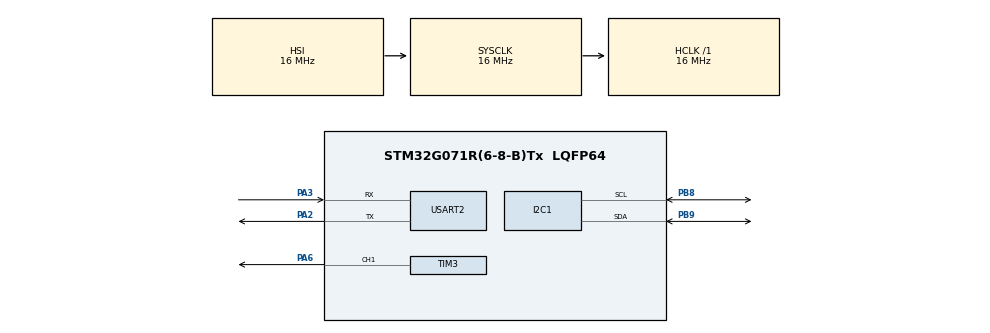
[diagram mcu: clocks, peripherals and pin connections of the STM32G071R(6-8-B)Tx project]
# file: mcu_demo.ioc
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I2C1.Timing=0x00503D58
Mcu.Family=STM32G0
Mcu.Name=STM32G071R(6-8-B)Tx
Mcu.Package=LQFP64
NVIC.USART2_IRQn=true\:0\:0\:false\:false\:true\:true\:true\:true
PA2.Mode=Asynchronous
PA2.Signal=USART2_TX
PA3.Mode=Asynchronous
PA3.Signal=USART2_RX
PA6.Signal=S_TIM3_CH1
PB8.Mode=I2C
PB8.Signal=I2C1_SCL
PB9.Mode=I2C
PB9.Signal=I2C1_SDA
ProjectManager.HeapSize=0x200
ProjectManager.StackSize=0x400
ProjectManager.TargetToolchain=STM32CubeIDE
RCC.AHBFreq_Value=16000000
RCC.CortexFreq_Value=16000000
RCC.EXTERNAL_CLOCK_VALUE=48000
RCC.HCLKFreq_Value=16000000
RCC.HSE_VALUE=8000000
RCC.HSI_VALUE=16000000
RCC.LSE_VALUE=32768
RCC.SYSCLKFreq_VALUE=16000000
RCC.VCOOutputFreq_Value=128000000
SH.S_TIM3_CH1.0=TIM3_CH1,PWM Generation1 CH1
TIM3.Channel-PWM\ Generation1\ CH1=TIM_CHANNEL_1
TIM3.Period=20000-1
TIM3.Prescaler=16-1
USART2.VirtualMode-Asynchronous=VM_ASYNC
board=custom

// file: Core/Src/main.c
/* USER CODE BEGIN Header */
/**
  ******************************************************************************
  * @file           : main.c
  * @brief          : Main program body
  ******************************************************************************
  * @attention
  *
  * Copyright (c) 2025 STMicroelectronics.
  * All rights reserved.
  *
  * This software is licensed under terms that can be found in the LICENSE file
  * in the root directory of this software component.
  * If no LICENSE file comes with this software, it is provided AS-IS.
  *
  ******************************************************************************
  */
/* USER CODE END Header */
#include "main.h"

/* USER CODE BEGIN Includes */
#include <stdio.h>
#include <string.h>
#include "i2c_lcd.h"
/* USER CODE END Includes */

/* USER CODE BEGIN PTD */

/* Note: although we can leave it, and SystemState will
 * count from 0, I feel far better leaving this explicit.
 * - Riley
 */

typedef enum {
	STATE_A = 0,
	STATE_B = 1,
	STATE_C = 2
}  SystemState;

typedef enum {
	LCD_COUNTER= 0,
	SERVO_COUNTER = 1,
	UART_COUNTER = 2,
	ALT_LED_COUNTER = 3,
	ADC_LED_COUNTER = 4,
	STATEC_LED_COUNTER = 5
}  counterArray;

typedef enum {
    PA2_MODE_UNKNOWN,
    PA2_MODE_UART,
    PA2_MODE_GPIO
} Pa2Mode;

/* USER CODE END PTD */

/* USER CODE BEGIN PD */

#define NUM_COUNTERS 6

// --- PINS ---
#define LED1_PIN 4 //CN9_D5
#define LED2_PIN 5 //CN9_D4
#define LED3_PIN 3 //CN9_D3
#define LED4_PIN 2 //CN8_PA2 (TX PIN)
#define BUTTON1_PIN 4 //OFFBOARD PC_4, CN9_D1, CN10_ aligned with CN9's TX/D1
#define BUTTON2_PIN	13 //ONBOARD, PC_13, CN7 aligned with gap in CN8 and CN6
#define POT_PIN 0 //PA_0

// SDA = PB_8, D14
// SCL = PB_9, D15

// --- PORTS ---
#define LED1_PORT GPIOB
#define LED2_PORT GPIOB
#define LED3_PORT GPIOB
#define LED4_PORT GPIOA
#define POT_PORT GPIOA

// --- DEFINED VALUES ---
#define BUTTON1 0
#define BUTTON2 1

#define POT_ADC_MAX 4095
#define POT_ADC_MIN 80 //Potentiometer doesn't reach zero, so this is for linear mapping.

#define ADC_AVG_WINDOW 3  // Average the last 10 values only

// --- TIM CONFIG ---
#define TIMER_SEL TIM2
#define TIMER_IRQn TIM2_IRQn

// --- COUNTER PERIODS ---
#define LCD_REFRESH_PERIOD 100 //ms
#define UART_UPDATE_PERIOD 500 //ms
#define ALT_LEDS_PERIOD 1000 //ms
#define SERVO_REFRESH_PERIOD 1 //ms, variable with testing

// --- STATE C ---
#define LED_BLINK_AMOUNT 3

//LCD
#define LCD_REFRESH_PERIOD 50 //ms

/* USER CODE END PD */

I2C_HandleTypeDef hi2c1;

TIM_HandleTypeDef htim3;

UART_HandleTypeDef huart2;

/* USER CODE BEGIN PV */
I2C_LCD_HandleTypeDef lcd1;

// --- Debugging ---
volatile uint32_t debugCounter[4] = {0}; //used to confirm if points in code are reached.

// --- State machine ---
volatile SystemState currentState = STATE_A;

// --- Counters ---
//TIM2 Handler Counters, for non blocking functionality
volatile uint32_t counterSelection[NUM_COUNTERS] = {0};  // LCD, SERVO, UART, ALT_LED, ADC_LED, STATE_C

//--- Alternating LEDs (LED1 & LED2) ---
volatile uint32_t ledBitPos[2] = {LED1_PIN,LED2_PIN};
volatile uint32_t selectedLed = 0;
volatile uint32_t ledOn = 0; //this is selecting LED_1 for ledBitPos to begin
volatile uint32_t ledOff = 1; //this is selecting LED_2 for ledBitPos to begin
volatile uint32_t blink = 0;
volatile int8_t altLedFlag = 0; //1ms check based on TIM2

// --- Button ---
volatile uint32_t buttonState[2]= {0};

//--- POTENTIOMETER GET ADC ---
volatile uint32_t adcValue = 0;
volatile int32_t latestAdcValue = 0;
volatile int32_t adcNewValueFlag = 0;
volatile uint32_t adcHistory[ADC_AVG_WINDOW] = {0};  // Stores the last 10 readings
volatile uint8_t adcHistoryIndex = 0;  // Tracks where to insert the new value

//--- Implementing ADC ---
//-- Servo
volatile int32_t pwmValue = 0;
//-- ADC LED (LED_3)
volatile uint32_t adcLedState = 0;
volatile uint32_t variableBlinkingFrequency = 0;

//--- UART ---
volatile uint32_t uartEnabled = 1;
volatile Pa2Mode pa2CurrentMode = PA2_MODE_UNKNOWN;

volatile char txData [] = "Autumn2025 MX1 SID: 14057208, ADC Reading: XXXX\r\n";
volatile char rxData [] = "";

volatile int32_t isTransmitting = 1;
volatile int32_t uartCounter = 0;
volatile int8_t uartTransmitFlag = 0;

//--- STATE C ---
volatile uint32_t stateCStarted = 0;
volatile uint32_t stateCFlashCount = 0;     // Counts OFF states (full flash = 1)

/***********************
 *  ALL UART VARIABLES
 ***********************
 */
volatile Pc4Mode pc4CurrentMode = PC4_MODE_UNKNOWN;

//transmit data variable
volatile char txData [] = "Autumn2025 MX1 SID: 14057208, ADC Reading: XXXX\r\n";
volatile char rxData [] = "";

volatile int32_t isTransmitting = 1;
volatile int32_t uartCounter = 0;
volatile int8_t uartTransmitFlag = 0;

/***********************
 *  ALL LCD VARIABLES
 ***********************
 */

volatile int8_t lcdUpdateFlag = 0;
volatile int32_t lcdCounter = 0;

/* USER CODE END PV */

void SystemClock_Config(void);
static void MX_GPIO_Init(void);
static void MX_I2C1_Init(void);
static void MX_USART2_UART_Init(void);
static void MX_TIM3_Init(void);
/* USER CODE BEGIN PFP */

// --- General Utilities ---
uint8_t ButtonWasPressed(uint8_t buttonIndex);
void HandleButtonInterrupt(uint8_t button, uint8_t isFalling, uint32_t pin);
void EXTI4_15_IRQHandler(void);
int IsTimeReached(int8_t selection, int32_t reset);
uint32_t LinearMap(uint32_t x, uint32_t inMin, uint32_t inMax,
		uint32_t outMin, uint32_t outMax);

// --- State Machine ---
void HandleStateA(void);
void HandleStateB(void);
void HandleStateC(void);

// --- ADC ---
void ADC1_COMP_IRQHandler(void);
void GetAdcValue(void);
void InitAdcHistory(void);
void ConfigureAdc(void);

// --- Outputs (LCD, UART, LEDs) ---
void OutputLCD(const char* line1, const char* line2);
void configure_LCD(void);
void UartSendAdcMessageIfEnabled(void);
void ServoMove(void);
void AltLedBlinking(void);
void AdcLedBlinking(void);
void StateCLed(void);

// --- GPIO, EXTI, Timer Config ---
void ConfigureTxForUart(void);
void ConfigureTxForGpio(void);
void ConfigureGpioOutput(GPIO_TypeDef* port, uint32_t pin);
void ConfigureButtonEXTI(void);
void ConfigureTimer(TIM_TypeDef* tim, uint32_t prescaler,
		uint32_t arr, IRQn_Type irqNum, uint8_t priority);

// --- Interrupt Handlers ---
void TIM2_IRQHandler(void);

// --- System Init ---
void InitAll(void);

/* USER CODE END PFP */

/* USER CODE BEGIN 0 */

/* ==========================================
 * 				General Utilities
 * 		 (Buttons and General Functions)
 * ========================================== */
//=============================
// Function ButtonWasPressed
// Purpose: Function used when PRESS matters, not holding down button.
//
// - Used for swapping between state A and B
//=============================
uint8_t ButtonWasPressed(uint8_t buttonIndex){
	if (buttonState[buttonIndex]) {
		buttonState[buttonIndex] = 0; //clears press flag
		return 1; //returns TRUE, recent button press HAS occurred.
	}
	return 0; // No new press
}
//FOR STATE A UART
void TransmitWithADC(void){
	char messageWithAdc [100];
	if (!uartTransmitFlag) return; //immediate exit if no transmission

	sprintf(messageWithAdc, "Autumn2025 EMS SID: 14057208, ADC Reading: %lu\r\n", adcValue);

	if(HAL_UART_Transmit(&huart2, (uint8_t*)messageWithAdc, strlen(messageWithAdc), HAL_MAX_DELAY) != HAL_OK)
		 Error_Handler();
	//Riley's note:
	// 'uint8_t*) included to remove warning. signedness differed.
	// removed warning without changing variable type.

	uartTransmitFlag = 0; //clear flag after successful transmit

}

////LCD Functionality

void OutputLCD(const char* line1, const char* line2) {
	if(!lcdUpdateFlag)return; //prevents endless refresh
    lcd_clear(&lcd1);

    lcd_gotoxy(&lcd1, 0, 0);
    lcd_puts(&lcd1, line1);

    lcd_gotoxy(&lcd1, 0, 1);
    lcd_puts(&lcd1, line2);
    lcdUpdateFlag = 0;
}

//=============================
// Function HandleButtonInterrupt
// Purpose:  Changes corresponding button state.
//
// - Importantly clears relevant flag.
//=============================
void HandleButtonInterrupt(uint8_t button, uint8_t isFalling, uint32_t pin){
    if (isFalling) {
        buttonState[button] = 1;  // Button is now pressed
        EXTI->FPR1 = (1 << pin);   // Clear falling edge flag
    } else {
        buttonState[button] = 0;  // Button is now released
        EXTI->RPR1 = (1 << pin);   // Clear rising edge flag
    }
}

//=============================
// Interrupt: EXTI4_15_IRQHandler
// Purpose:  Responds to rising and falling edge of both buttons
//=============================

void EXTI4_15_IRQHandler(void){

    if (EXTI->FPR1 & (1 << 13)) HandleButtonInterrupt(BUTTON2, 1, 13);
    if (EXTI->RPR1 & (1 << 13)) HandleButtonInterrupt(BUTTON2, 0, 13);

    if (EXTI->FPR1 & (1 << 4)) HandleButtonInterrupt(BUTTON1, 1, 4);
    if (EXTI->RPR1 & (1 << 4)) HandleButtonInterrupt(BUTTON1, 0, 4);
}

//=============================
// Function: IsTimeReached
// Purpose:  Returns 1 ("true") if a time period has elapsed.
//
// - Polls a counter incremented in TIM2_IRQHandler (1ms steps).
// - Used for scheduling periodic tasks without blocking delays.
//=============================
int IsTimeReached(int8_t selection, int32_t reset){

	// If counter has reached desired period
    if (counterSelection[selection] >= reset) {
        counterSelection[selection] = 0;
        return 1; // True
    }
    return 0; // False
}

//=============================
// Function: LinearMap
// Purpose:  Standard linear mapping function.
//
// - Converts an input value 'x' from [inMin, inMax] to
//	 	a proportional value in [outMin, outMax].
// - Clamps 'x' to the input range to avoid out-of-bound results.
// - Uses uint64_t multiplication to prevent overflow.
//=============================
uint32_t LinearMap(uint32_t x, uint32_t inMin, uint32_t inMax, uint32_t outMin, uint32_t outMax){
    if (inMax == inMin) return outMin; // prevent divide-by-zero

    if (x < inMin) x = inMin;
    if (x > inMax) x = inMax;

    //uint64_t avoids overflow during multiplication
    return ((uint64_t)(x - inMin) * (outMax - outMin)) / (inMax - inMin) + outMin;
}

/* ==========================================
 * 				 State Machine
 * 		 	 (for switch in while)
 * ========================================== */
//=============================
// Function: HandleStateA
// Purpose:  Calls State A specific functions.
//
// - Configures Tx for UART, LCD Output, Reads UART
// - Button 1 pressed -> State C
// - Button 2 pressed -> State B
//=============================
void HandleStateA(void) {

	// UART Transmitting
	ConfigureTxForUart();
	UartSendAdcMessageIfEnabled();

	// LCD STATE A
	OutputLCD("SID: 14057208", "MECHATRONICS 1");

	// UART Receiving (only in State A)
	HAL_UART_Receive_IT(&huart2, (uint8_t*)rxData, sizeof(rxData));

    if (ButtonWasPressed(BUTTON1)) {
		currentState = STATE_C;
		debugCounter[2];
		return;
	}
    if (ButtonWasPressed(BUTTON2)) {
        currentState = STATE_B;
        return;
    }
}

//=============================
// Function: HandleStateB
// Purpose:  Calls State B specific functions.
//
// - Takes ADC value for LED_3, Servo and LCD
// - Button 1 pressed -> Alternates LED 1 & LED 2 blinking
// - Button 2 pressed -> State A
//=============================
void HandleStateB(void) {

	ServoMove();

	//LCD ALL FUNCTIONALITY
	char adcText[17];
	snprintf(adcText, sizeof(adcText), "ADC:%4lu STATE B", adcValue);

	OutputLCD(adcText, "MECHATRONICS 1");

    if (buttonState[BUTTON1]) {
        selectedLed = 1; //LED2 blinks while button is held
    }
    else{
    	selectedLed = 0; //LED1 blinks otherwise
    }
    if (ButtonWasPressed(BUTTON2)) {
        currentState = STATE_A;
        return;
    }
}

//=============================
// Function: HandleStateC
// Purpose:  Calls State C specific functions.
//
// - LCD "off"
// - Runs LED blinking function (also handles TX reconfiguration)
//=============================
void HandleStateC(void) {

	OutputLCD("", ""); //LCD functionally OFF

	StateCLed();

}

//=============================
// Function: stateCLed
// Purpose:  Blink LED_4 at 1Hz for 3 cycles (6 toggles).
//
// - Reconfigures TX pin as GPIO at start
// - Blinks LED 3 times
// - Reverts to State A when complete
//=============================
void StateCLed(void){

	if (!stateCStarted) {
		stateCStarted = 1;
		stateCFlashCount = 0;
		ConfigureTxForGpio(); //UART OFF
		counterSelection[STATEC_LED_COUNTER] = 0; // Reset timing counter
		HAL_GPIO_WritePin(GPIOA, GPIO_PIN_2, GPIO_PIN_RESET); // LED OFF
	}

	// 1Hz blink timing
	if (!IsTimeReached(STATEC_LED_COUNTER, 1000/2)) return;

	// Toggle LED
	if (stateCFlashCount % 2 == 0){ // Currently ON, so turn OFF
		HAL_GPIO_WritePin(GPIOA, GPIO_PIN_2, GPIO_PIN_SET);
	} else { // Currently OFF, so turn ON
		HAL_GPIO_WritePin(GPIOA, GPIO_PIN_2, GPIO_PIN_RESET);
	}

	stateCFlashCount++;

	if (stateCFlashCount >= (LED_BLINK_AMOUNT*2)) { // 3 ON + 3 OFF = 6 toggles
		//ConfigureTxForUart(); // Restore UART
		HAL_GPIO_WritePin(GPIOA, GPIO_PIN_2, GPIO_PIN_RESET); // LED OFF
		stateCStarted = 0;
		currentState = STATE_A;
	}

}

/* ==========================================
 * 				 	  ADC
 * 		 (Handler, GetAdcValue, Config)
 * ========================================== */

//=============================
// Interrupt: ADC1 Handler
// Purpose:  Takes in new ADC value.
//
// - adjusts minimum to help with linear mapping later
//=============================
void ADC1_COMP_IRQHandler(void){

	// Takes new value (that triggers this interrupt)
	uint32_t localAdcValue = ADC1->DR;
	adcNewValueFlag = 1;

	// Adjusts value if near lowest value
	if (localAdcValue < POT_ADC_MIN){
		localAdcValue = POT_ADC_MIN;
	}

	// Latest ADC Value is then passed on by GetAdcValue()
	latestAdcValue = localAdcValue;

	ADC1->ISR |= (1 << 2); //clear the interrupt flag

	ADC1->CR |= 1 << 2; //start new ADC conversion

}

//=============================
// Function: GetAdcValue
// Purpose:  Averages recent values, then maps as POT only goes to ~80
//
// - adjusts minimum to help with linear mapping later
//=============================
void GetAdcValue(void){

	// "flag" means it will only take in a value after each ADC interrupt
	if (!adcNewValueFlag) return;
	adcNewValueFlag = 1;

	// Store latest value into the buffer at the current index
	adcHistory[adcHistoryIndex] = latestAdcValue;

	// Move to next index, wrapping around at the end (circular buffer)
	adcHistoryIndex = (adcHistoryIndex + 1) % ADC_AVG_WINDOW;

	// Calculate average of the stored values
	uint32_t sum = 0;
	for(uint8_t i = 0; i < ADC_AVG_WINDOW; i++) {
		sum += adcHistory[i];
	}
	uint32_t averagedValue = sum / ADC_AVG_WINDOW;

	// Map averaged result to desired range
	adcValue = LinearMap(averagedValue,POT_ADC_MIN,POT_ADC_MAX,0,POT_ADC_MAX);

}

//=============================
// Function: InitAdcHistory
// Purpose:  Sets average, not entirely needed at current small average window.
//=============================
void InitAdcHistory(void) {
    // Fill the history buffer with the first valid ADC value
    for (uint8_t i = 0; i < ADC_AVG_WINDOW; i++) {
        adcHistory[i] = latestAdcValue;
    }
}

void ConfigureAdc(void){

	// 1. Enable PORT

	RCC->IOPENR |= (1 << 0); //GPIOA

	POT_PORT->MODER |= (3 << (POT_PIN * 2)); // Set MODER to 11
	POT_PORT->PUPDR &= ~(3 << (POT_PIN *2)); // No pull-up/down

	// 2. Enable ADC Clock

	RCC->APBENR2 |= (1 << 20); //ADC Clock Enable //RCC_APBENR2_ADCEN ?

	// 3. Configure ADC Parameters

	ADC1->CFGR1 &= ~(3 << 3); // 12-bit resolution 0b00
	ADC1->CFGR2 &= ~(3UL << 30); // Asynchronous clock mode 0b00
	//3UL to avoid compiler warnings near signed boundary
	ADC->CCR &= ~(0xF << 18); // 0b0000, Prescaler = 1

	ADC1->CHSELR |= (1 << POT_PIN); // Selecting pin

	ADC1->SMPR &= ~(7 << 4); // Clears bits 6:4 (SMP2[2:0])
	ADC1->SMPR |= (3 << 4); // Set bits 6:4 to 0b011 = 12.5 cycles 0b011
	ADC1->SMPR |= (1 << 8); // Set channel 0 to use SMP2 time

	// 4. Enable ADC Interrupt & Start

	ADC1->IER |= (1 << 2); // End-of-conversation interrupt
	ADC1->CR |= (1 << 0); // Enable ADC

	while (!(ADC1->ISR & (1 << 0))){}; // Wait for ready

	NVIC_SetPriority(ADC1_COMP_IRQn, 2);
	NVIC_EnableIRQ(ADC1_COMP_IRQn);

	ADC1->CR |= 1 << 2; // Start first conversion
}

/* ==========================================
 * 					Outputs
 * 				(LCD, UART, LEDs)
 * ========================================== */

//=============================
// Function: OutputLCD
// Purpose:  Update the LCD display only when text changes.
//
// - Compares new text lines with the previous ones to prevent unnecessary updates.
// - Updates the LCD only when either line has changed.
// - Prevents flickering by avoiding redundant clears and writes.
//=============================
void OutputLCD(const char* line1, const char* line2) {

	static char prevLine1[17] = "";
	static char prevLine2[17] = "";

	//CounterFlag(LCD_COUNTER, LCD_REFRESH_PERIOD);

	//if(!counterFlag[LCD_COUNTER]) return; //prevents endless refresh

	//counterFlag[LCD_COUNTER] = 0;

	if(!IsTimeReached(LCD_COUNTER, LCD_REFRESH_PERIOD)) return;

	// Only update if lines changed
	// This prevents needless clearing, which shows as flickering.

	if (strcmp(line1, prevLine1) == 0 && strcmp(line2, prevLine2) == 0){
		return; // no new data, skip the update
	}

    lcd_clear(&lcd1);

    lcd_gotoxy(&lcd1, 0, 0);
    lcd_puts(&lcd1, line1);

    lcd_gotoxy(&lcd1, 0, 1);
    lcd_puts(&lcd1, line2);

    // Save new lines as previous for next comparison
	strncpy(prevLine1, line1, sizeof(prevLine1));
	strncpy(prevLine2, line2, sizeof(prevLine2));
}

//=============================
// Function: configure_LCD
// Purpose:  Correctly configures LCD
//=============================
void configure_LCD(void){
	MX_I2C1_Init(); // CubeMX-generated

	lcd1.hi2c = &hi2c1;
	lcd1.address = 0x27 << 1;  // (confirm your backpack's address, usually 0x27 or 0x3F)
	lcd_init(&lcd1);
	lcd_clear(&lcd1);
}

//=============================
// Function: UartSendAdcMessageIfEnabled
// Purpose:  Transmit message with ADC Reading at 2Hz.
//
// - Only transmits when enabled.
// - doesn't consider state, written only in STATE_A functionality.
//=============================
void UartSendAdcMessageIfEnabled(void){

	// Exit if update period is not reached
	if(!IsTimeReached(UART_COUNTER,UART_UPDATE_PERIOD)) return;

	// Exit immediately if transmission is disabled
	if(!isTransmitting) return;

	char messageWithAdc [100]; // Buffer for the message

	// Create the message with current ADC value
	sprintf(messageWithAdc, "Autumn2025 EMS SID: 14057208, ADC Reading: %lu\r\n", adcValue);

	// Transmit the message over UART2
	if(HAL_UART_Transmit(&huart2, (uint8_t*)messageWithAdc, strlen(messageWithAdc), HAL_MAX_DELAY) != HAL_OK)
		 Error_Handler();
}

//=============================
// Function: ServoMove
// Purpose:  Move the servo to a position based on ADC value.
//
// - Maps ADC value to pulse width and sets PWM duty cycle.
//=============================
void ServoMove(void){

	// Exit if update period is not reached
	if(!IsTimeReached(SERVO_COUNTER,SERVO_REFRESH_PERIOD)) return;

	// SERVO PULSE WIDTH LIMITS (tested values)
	const int32_t pulseMin = 610; // 0 degrees, ~0.61ms
	const int32_t pulseMax = 2600; // 180 degrees, ~2.6ms

	// Map ADC value to servo pulse width
	pwmValue = LinearMap(adcValue, 0, POT_ADC_MAX, pulseMin, pulseMax);

	// Set new PWM
	__HAL_TIM_SET_COMPARE(&htim3, TIM_CHANNEL_1, pwmValue);
}

//=============================
// Function: AltLedBlinking
// Purpose:  Alternates which led is blinking based on button press value.
//
// - To be placed outside of state switches, as leds turn off within.
//=============================
void AltLedBlinking(void){

	const int32_t blinkPeriodMs = 1000; // 1 second total period

	if (!altLedFlag) return; //this varies as it's only a 1ms check
	altLedFlag = 0;

	// If not in STATE_B, turn both LEDs off and exit
	if (currentState != STATE_B){
		GPIOB->BSRR = (1 << (LED1_PIN + 16));
		GPIOB->BSRR = (1 << (LED2_PIN + 16));
		return;
	}

	// Takes value from Button Press to determine which LED

	ledOn = selectedLed;
	ledOff = (selectedLed == 0) ? 1 : 0;  // removes potential error

	// Turn OFF the "off" LED (always)
	GPIOB->BSRR = (1 << (ledBitPos[ledOff] + 16));

	// Decide whether to turn ON or OFF the "on" LED based on counter position
	if (counterSelection[ALT_LED_COUNTER] > blinkPeriodMs / 2 ){ //LED ON
		GPIOB->BSRR = (1 << ledBitPos[ledOn]);
		blink = 1;
	} else {
		GPIOB->BSRR = (1 << (ledBitPos[ledOn] + 16)); //LED OFF
		blink = 0;
	}

	// Keep counter rolling over
	counterSelection[ALT_LED_COUNTER] = counterSelection[ALT_LED_COUNTER] % blinkPeriodMs;
}

//=============================
// Function: AdcLedBlinking
// Purpose:  Varies toggling led via ADC value.
//
// - To be placed outside of state switches, as led turns off within.
//=============================
void AdcLedBlinking(void){

	// Maps adcValue to determine blinking period
	variableBlinkingFrequency = LinearMap(adcValue,0,POT_ADC_MAX,200,1000);

	// If not in STATE_B, turn LED off and exit
	if (currentState != STATE_B){
		//GPIOB->BSRR = (1 << (LED3_PIN + 16)); //LED blinks off
		HAL_GPIO_WritePin(GPIOB, GPIO_PIN_3, GPIO_PIN_RESET); // Turn OFF
		return;
	}

	// Exit if half of new blinking period is not reached
	if(!IsTimeReached(ADC_LED_COUNTER,variableBlinkingFrequency/2)) return;
	GPIOB->BSRR = (1 << GPIO_PIN_3);

	// Toggle LED
	if (adcLedState){ // Currently ON, so turn OFF
		HAL_GPIO_WritePin(GPIOB, GPIO_PIN_3, GPIO_PIN_SET);
		adcLedState = 0;
	} else { // Currently OFF, so turn ON
		HAL_GPIO_WritePin(GPIOB, GPIO_PIN_3, GPIO_PIN_RESET);
		adcLedState = 1;
	}

}

/* ==========================================
 * 			GPIO, EXTI, Timer Config
 *
 * ========================================== */

void ConfigureTxForUart(void) {
    if (pa2CurrentMode == PA2_MODE_UART) return; // Already UART? Exit

    // Disable UART interrupts before reconfiguring
    __HAL_UART_DISABLE_IT(&huart2, UART_IT_RXNE);

    // Deinitialise PA2 only (leave PA3 untouched)
    HAL_GPIO_DeInit(GPIOA, GPIO_PIN_2);

    // Make sure no UART is still transmitting before re-init
	while (__HAL_UART_GET_FLAG(&huart2, UART_FLAG_TC) == RESET);

	// Re-initialize UART. This will reassign PA2 (TX).
	// PA3 (RX) stays as is.
    MX_USART2_UART_Init();

    __HAL_UART_ENABLE_IT(&huart2, UART_IT_RXNE);

    pa2CurrentMode = PA2_MODE_UART;
}

void ConfigureTxForGpio(void) {
    if (pa2CurrentMode == PA2_MODE_GPIO) return; // Already GPIO? Exit

    // Disable UART interrupts before de-init
	__HAL_UART_DISABLE_IT(&huart2, UART_IT_RXNE);

	// Make sure UART is not transmitting
	while (__HAL_UART_GET_FLAG(&huart2, UART_FLAG_TC) == RESET);

	// Disable UART. PA2 will be free, PA3 stays input.
	HAL_UART_DeInit(&huart2);

	// Configure PA2 as output. PA3 left unchanged (still RX, floating).
	GPIO_InitTypeDef GPIO_InitStruct = {0};
	GPIO_InitStruct.Pin = GPIO_PIN_2;
	GPIO_InitStruct.Mode = GPIO_MODE_OUTPUT_PP;
	GPIO_InitStruct.Pull = GPIO_NOPULL;
	GPIO_InitStruct.Speed = GPIO_SPEED_FREQ_LOW;

	HAL_GPIO_Init(GPIOA, &GPIO_InitStruct);

	pa2CurrentMode = PA2_MODE_GPIO;
}

void ConfigureGpioOutput(GPIO_TypeDef* port, uint32_t pin) {

    // 1. Enable GPIO clock (based on port address offset from GPIOA)

    uint32_t portIndex = ((uint32_t)port - (uint32_t)GPIOA) / 0x400;
    RCC->IOPENR |= (1 << portIndex);

    // 2. Set pin as general purpose output (MODER = 01)

    port->MODER &= ~(3 << (pin * 2)); // clear mode bits
    port->MODER |=  (1 << (pin * 2)); // set to output mode

    // 3. Set push-pull, low speed, no pull

    port->OTYPER &= ~(1 << pin);      // push-pull
    port->OSPEEDR &= ~(3 << (pin * 2)); // low speed
    port->PUPDR &= ~(3 << (pin * 2)); // no pull-up/down
}

void ConfigureButtonEXTI(void) {
    RCC->IOPENR |= RCC_IOPENR_GPIOCEN;
    RCC->APBENR2 |= RCC_APBENR2_SYSCFGEN;

    // PC4 and PC13 as input with pull-up
    GPIOC->MODER &= ~((3 << (4 * 2)) | (3 << (13 * 2)));
    GPIOC->PUPDR &= ~((3 << (4 * 2)) | (3 << (13 * 2)));
    GPIOC->PUPDR |=  ((1 << (4 * 2)) | (1 << (13 * 2))); // Pull-up for both

    // Map EXTI4 to PC4
    EXTI->EXTICR[1] &= ~(0xF << 0);        // Bits 3:0 for EXTI4
    EXTI->EXTICR[1] |=  (0x2 << 0);        // Port C = 0b0010

    // Map EXTI13 to PC13
    EXTI->EXTICR[3] &= ~(0xF << 8);
    EXTI->EXTICR[3] |=  (0x2 << 8); // Port C = 0b0010

    // Falling edge trigger only
    EXTI->RTSR1 |= (1 << 4) | (1 << 13);  // Enable rising
    EXTI->FTSR1 |= (1 << 4) | (1 << 13);    // Enable falling

    // Unmask both EXTI lines
    EXTI->IMR1 |= (1 << 4) | (1 << 13);

    // Disable event generation
    EXTI->EMR1 &= ~((1 << 4) | (1 << 13));

    NVIC_SetPriority(EXTI4_15_IRQn, 1);
    NVIC_EnableIRQ(EXTI4_15_IRQn);
}

void ConfigureTimer(TIM_TypeDef *tim, uint32_t prescaler,
		uint32_t arr, IRQn_Type irqNum, uint8_t priority){

	// 1. Enable timer clock
	if (tim == TIM1)   RCC->APBENR2 |= RCC_APBENR2_TIM1EN;
	else if (tim == TIM2) RCC->APBENR1 |= RCC_APBENR1_TIM2EN;
	else if (tim == TIM3) RCC->APBENR1 |= RCC_APBENR1_TIM3EN;
	else if (tim == TIM14) RCC->APBENR2 |= RCC_APBENR2_TIM14EN;
	// Add more as needed

	// 2. Set prescaler and ARR
	tim->PSC = prescaler;
	tim->ARR = arr;
	tim->CNT = 0;

	// 3. Enable update interrupt
	tim->DIER |= TIM_DIER_UIE;

	// 4. Set NVIC
	NVIC_SetPriority(irqNum, priority);
	NVIC_EnableIRQ(irqNum);

	// 5. Start the timer
	tim->CR1 &= ~TIM_CR1_DIR; // Upcounting
	tim->CR1 |= TIM_CR1_CEN;
}

/* ==========================================
 * 		Interrupt Handlers & System Init
 *
 * ========================================== */

//=============================
// Interrupt: TIM2 Handler
// Purpose:  Increments all counters at 1ms.
//
// - also sets 1ms flag for faster functions.
//=============================
void TIM2_IRQHandler(void){
    TIM2->SR &= ~TIM_SR_UIF; // Clear update interrupt flag

    //Increments all counters
    for (int i = 0; i < NUM_COUNTERS; i++) {
		counterSelection[i]++;
	}

	altLedFlag = 1; //1ms check for alternating LEDs
}

void InitAll(){

	// GPIO outputs
	ConfigureGpioOutput(LED1_PORT, LED1_PIN); // LED1
	ConfigureGpioOutput(LED2_PORT, LED2_PIN); // LED2
	ConfigureGpioOutput(LED3_PORT, LED3_PIN); // LED3
	ConfigureGpioOutput(LED4_PORT, LED4_PIN); // LED4

	// EXTI lines
	ConfigureButtonEXTI();

	// ADC
	ConfigureAdc(); //PA0 Potentiometer
	InitAdcHistory(); //sets average to current value

	// TIM
	ConfigureTimer(TIM2, 16 - 1, 1000 - 1, TIM2_IRQn, 3); //All LEDs
	//TIM3 for servo done in .ioc
	HAL_TIM_PWM_Start(&htim3, TIM_CHANNEL_1);

	//LCD Config
	configure_LCD();
}

/* USER CODE END 0 */

int main(void)
{

  /* MCU Configuration--------------------------------------------------------*/

  /* Reset of all peripherals, Initializes the Flash interface and the Systick. */
  HAL_Init();

  /* Configure the system clock */
  SystemClock_Config();

  /* Initialize all configured peripherals */
  MX_GPIO_Init();
  MX_I2C1_Init();
  MX_USART2_UART_Init();
  MX_TIM3_Init();
  /* USER CODE BEGIN 2 */
  InitAll();

  /* USER CODE END 2 */

  /* Infinite loop */
  /* USER CODE BEGIN WHILE */
  while (1){
	  GetAdcValue(); // Averaged out value.

	  //acts in all states (including setting to off)
	  AltLedBlinking();
	  AdcLedBlinking();

	  switch (currentState){

	  	  case STATE_A: HandleStateA(); break;

	  	  case STATE_B: HandleStateB(); break;

	  	  case STATE_C: HandleStateC(); break;

	  	  default:	currentState = STATE_A; break;
	  }

    /* USER CODE END WHILE */

  }
}

void SystemClock_Config(void)
{
  RCC_OscInitTypeDef RCC_OscInitStruct = {0};
  RCC_ClkInitTypeDef RCC_ClkInitStruct = {0};

  /** Configure the main internal regulator output voltage
  */
  HAL_PWREx_ControlVoltageScaling(PWR_REGULATOR_VOLTAGE_SCALE1);

  /** Initializes the RCC Oscillators according to the specified parameters
  * in the RCC_OscInitTypeDef structure.
  */
  RCC_OscInitStruct.OscillatorType = RCC_OSCILLATORTYPE_HSI;
  RCC_OscInitStruct.HSIState = RCC_HSI_ON;
  RCC_OscInitStruct.HSIDiv = RCC_HSI_DIV1;
  RCC_OscInitStruct.HSICalibrationValue = RCC_HSICALIBRATION_DEFAULT;
  RCC_OscInitStruct.PLL.PLLState = RCC_PLL_NONE;
  if (HAL_RCC_OscConfig(&RCC_OscInitStruct) != HAL_OK)
  {
    Error_Handler();
  }

  /** Initializes the CPU, AHB and APB buses clocks
  */
  RCC_ClkInitStruct.ClockType = RCC_CLOCKTYPE_HCLK|RCC_CLOCKTYPE_SYSCLK
                              |RCC_CLOCKTYPE_PCLK1;
  RCC_ClkInitStruct.SYSCLKSource = RCC_SYSCLKSOURCE_HSI;
  RCC_ClkInitStruct.AHBCLKDivider = RCC_SYSCLK_DIV1;
  RCC_ClkInitStruct.APB1CLKDivider = RCC_HCLK_DIV1;

  if (HAL_RCC_ClockConfig(&RCC_ClkInitStruct, FLASH_LATENCY_0) != HAL_OK)
  {
    Error_Handler();
  }
}

static void MX_I2C1_Init(void)
{

  hi2c1.Instance = I2C1;
  hi2c1.Init.Timing = 0x00503D58;
  hi2c1.Init.OwnAddress1 = 0;
  hi2c1.Init.AddressingMode = I2C_ADDRESSINGMODE_7BIT;
  hi2c1.Init.DualAddressMode = I2C_DUALADDRESS_DISABLE;
  hi2c1.Init.OwnAddress2 = 0;
  hi2c1.Init.OwnAddress2Masks = I2C_OA2_NOMASK;
  hi2c1.Init.GeneralCallMode = I2C_GENERALCALL_DISABLE;
  hi2c1.Init.NoStretchMode = I2C_NOSTRETCH_DISABLE;
  if (HAL_I2C_Init(&hi2c1) != HAL_OK)
  {
    Error_Handler();
  }

  /** Configure Analogue filter
  */
  if (HAL_I2CEx_ConfigAnalogFilter(&hi2c1, I2C_ANALOGFILTER_ENABLE) != HAL_OK)
  {
    Error_Handler();
  }

  /** Configure Digital filter
  */
  if (HAL_I2CEx_ConfigDigitalFilter(&hi2c1, 0) != HAL_OK)
  {
    Error_Handler();
  }

}

static void MX_TIM3_Init(void)
{

  TIM_MasterConfigTypeDef sMasterConfig = {0};
  TIM_OC_InitTypeDef sConfigOC = {0};

  htim3.Instance = TIM3;
  htim3.Init.Prescaler = 16-1;
  htim3.Init.CounterMode = TIM_COUNTERMODE_UP;
  htim3.Init.Period = 20000-1;
  htim3.Init.ClockDivision = TIM_CLOCKDIVISION_DIV1;
  htim3.Init.AutoReloadPreload = TIM_AUTORELOAD_PRELOAD_DISABLE;
  if (HAL_TIM_PWM_Init(&htim3) != HAL_OK)
  {
    Error_Handler();
  }
  sMasterConfig.MasterOutputTrigger = TIM_TRGO_RESET;
  sMasterConfig.MasterSlaveMode = TIM_MASTERSLAVEMODE_DISABLE;
  if (HAL_TIMEx_MasterConfigSynchronization(&htim3, &sMasterConfig) != HAL_OK)
  {
    Error_Handler();
  }
  sConfigOC.OCMode = TIM_OCMODE_PWM1;
  sConfigOC.Pulse = 0;
  sConfigOC.OCPolarity = TIM_OCPOLARITY_HIGH;
  sConfigOC.OCFastMode = TIM_OCFAST_DISABLE;
  if (HAL_TIM_PWM_ConfigChannel(&htim3, &sConfigOC, TIM_CHANNEL_1) != HAL_OK)
  {
    Error_Handler();
  }
  HAL_TIM_MspPostInit(&htim3);

}

static void MX_USART2_UART_Init(void)
{

  huart2.Instance = USART2;
  huart2.Init.BaudRate = 115200;
  huart2.Init.WordLength = UART_WORDLENGTH_8B;
  huart2.Init.StopBits = UART_STOPBITS_1;
  huart2.Init.Parity = UART_PARITY_NONE;
  huart2.Init.Mode = UART_MODE_TX_RX;
  huart2.Init.HwFlowCtl = UART_HWCONTROL_NONE;
  huart2.Init.OverSampling = UART_OVERSAMPLING_16;
  huart2.Init.OneBitSampling = UART_ONE_BIT_SAMPLE_DISABLE;
  huart2.Init.ClockPrescaler = UART_PRESCALER_DIV1;
  huart2.AdvancedInit.AdvFeatureInit = UART_ADVFEATURE_NO_INIT;
  if (HAL_UART_Init(&huart2) != HAL_OK)
  {
    Error_Handler();
  }
  if (HAL_UARTEx_SetTxFifoThreshold(&huart2, UART_TXFIFO_THRESHOLD_1_8) != HAL_OK)
  {
    Error_Handler();
  }
  if (HAL_UARTEx_SetRxFifoThreshold(&huart2, UART_RXFIFO_THRESHOLD_1_8) != HAL_OK)
  {
    Error_Handler();
  }
  if (HAL_UARTEx_DisableFifoMode(&huart2) != HAL_OK)
  {
    Error_Handler();
  }

}

static void MX_GPIO_Init(void)
{
  /* USER CODE BEGIN MX_GPIO_Init_1 */
	GPIO_InitTypeDef GPIO_InitStruct = {0};
  /* USER CODE END MX_GPIO_Init_1 */

  /* GPIO Ports Clock Enable */
  __HAL_RCC_GPIOA_CLK_ENABLE();
  __HAL_RCC_GPIOB_CLK_ENABLE();

  /* USER CODE BEGIN MX_GPIO_Init_2 */
  GPIO_InitStruct.Pin = GPIO_PIN_6;
  GPIO_InitStruct.Mode = GPIO_MODE_AF_PP;
  GPIO_InitStruct.Pull = GPIO_NOPULL;
  GPIO_InitStruct.Speed = GPIO_SPEED_FREQ_LOW;
  GPIO_InitStruct.Alternate = GPIO_AF1_TIM3;
  HAL_GPIO_Init(GPIOA, &GPIO_InitStruct);

  /* Configure PB8 as I2C1_SCL */
  GPIO_InitStruct.Pin = GPIO_PIN_8;
  GPIO_InitStruct.Mode = GPIO_MODE_AF_OD;  // Open-drain for I2C
  GPIO_InitStruct.Pull = GPIO_PULLUP;      // Optional: internal pull-up (most backpacks have external)
  GPIO_InitStruct.Speed = GPIO_SPEED_FREQ_LOW;
  GPIO_InitStruct.Alternate = GPIO_AF6_I2C1;
  HAL_GPIO_Init(GPIOB, &GPIO_InitStruct);

  /* Configure PB9 as I2C1_SDA */
  GPIO_InitStruct.Pin = GPIO_PIN_9;
  HAL_GPIO_Init(GPIOB, &GPIO_InitStruct);

  /* USER CODE END MX_GPIO_Init_2 */
}

/* USER CODE BEGIN 4 */

// This function has been moved to main.c
// Purpose is called when key press triggers interrupt.
// - Riley
void HAL_UART_RxCpltCallback(UART_HandleTypeDef *huart)
{
  /* Prevent unused argument(s) compilation warning */
  UNUSED(huart);

  /* NOTE : This function should not be modified, when the callback is needed,
            the HAL_UART_RxCpltCallback can be implemented in the user file.
   */

  //Echoing user input for the purpose of debugging
  char toggleMessage [] = "UART output toggled with E key. \r\n";

  //strcasecmp means the key will activate for 'e' and 'E'
  // const char to remove warning as strcasecmp expects const char.
  // - Riley
  if (!strcasecmp((const char*)rxData, "e")){
      isTransmitting = !isTransmitting;
	  HAL_UART_Transmit(&huart2, (uint8_t*)toggleMessage, strlen(toggleMessage), HAL_MAX_DELAY);
  }

}

/* USER CODE END 4 */

void Error_Handler(void)
{
  __disable_irq();
  while (1)
  {
  }
}
